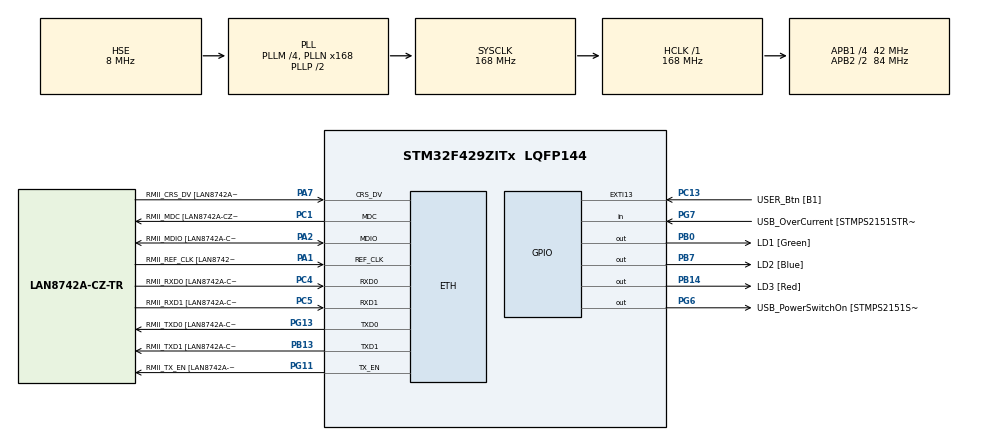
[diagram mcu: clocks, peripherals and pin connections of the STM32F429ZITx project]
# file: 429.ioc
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ETH.MediaInterface=ETH_MEDIA_INTERFACE_RMII
ETH.PHY_Name=LAN8742A_PHY_ADDRESS
ETH.PHY_Value=0
ETH.PhyAddress=0
LWIP.GATEWAY_ADDRESS=192.168.004.001
LWIP.IP_ADDRESS=192.168.004.251
LWIP.LWIP_DHCP=0
LWIP.MEMP_NUM_API_MSG=10
LWIP.MEMP_NUM_DNS_API_MSG=10
LWIP.MEMP_NUM_NETBUF=10
LWIP.MEMP_NUM_NETCONN=10
LWIP.MEMP_NUM_SOCKET_SETGETSOCKOPT_DATA=10
LWIP.MEMP_NUM_SYS_TIMEOUT=10
LWIP.MEMP_NUM_TCPIP_MSG_API=10
LWIP.MEMP_NUM_TCPIP_MSG_INPKT=10
LWIP.MEMP_NUM_TCP_PCB=10
LWIP.MEMP_NUM_TCP_PCB_LISTEN=10
LWIP.MEM_SIZE=4000
LWIP.NETMASK_ADDRESS=255.255.255.000
LWIP.TCP_MSS=720
LWIP.Version=v2.1.2_Cube
Mcu.Family=STM32F4
Mcu.Name=STM32F429ZITx
Mcu.Package=LQFP144
NVIC.PriorityGroup=NVIC_PRIORITYGROUP_4
PA1.GPIO_Label=RMII_REF_CLK [LAN8742A-CZ-TR_REFCLK0]
PA1.Mode=RMII
PA1.Signal=ETH_REF_CLK
PA10.GPIO_Label=USB_ID
PA10.Signal=USB_OTG_FS_ID
PA11.GPIO_Label=USB_DM
PA11.Signal=USB_OTG_FS_DM
PA12.GPIO_Label=USB_DP
PA12.Signal=USB_OTG_FS_DP
PA13.GPIO_Label=TMS
PA13.Mode=Serial_Wire
PA13.Signal=SYS_JTMS-SWDIO
PA14.GPIO_Label=TCK
PA14.Mode=Serial_Wire
PA14.Signal=SYS_JTCK-SWCLK
PA2.GPIO_Label=RMII_MDIO [LAN8742A-CZ-TR_MDIO]
PA2.Mode=RMII
PA2.Signal=ETH_MDIO
PA7.GPIO_Label=RMII_CRS_DV [LAN8742A-CZ-TR_CRS_DV]
PA7.Mode=RMII
PA7.Signal=ETH_CRS_DV
PA8.GPIO_Label=USB_SOF [TP1]
PA8.Signal=USB_OTG_FS_SOF
PA9.GPIO_Label=USB_VBUS
PA9.Signal=USB_OTG_FS_VBUS
PB0.GPIO_Label=LD1 [Green]
PB0.Signal=GPIO_Output
PB13.GPIO_Label=RMII_TXD1 [LAN8742A-CZ-TR_TXD1]
PB13.Mode=RMII
PB13.Signal=ETH_TXD1
PB14.GPIO_Label=LD3 [Red]
PB14.Signal=GPIO_Output
PB7.GPIO_Label=LD2 [Blue]
PB7.Signal=GPIO_Output
PC1.GPIO_Label=RMII_MDC [LAN8742A-CZ-TR_MDC]
PC1.Mode=RMII
PC1.Signal=ETH_MDC
PC13.GPIO_Label=USER_Btn [B1]
PC13.Signal=GPXTI13
PC14/OSC32_IN.Mode=LSE-External-Oscillator
PC14/OSC32_IN.Signal=RCC_OSC32_IN
PC15/OSC32_OUT.Mode=LSE-External-Oscillator
PC15/OSC32_OUT.Signal=RCC_OSC32_OUT
PC4.GPIO_Label=RMII_RXD0 [LAN8742A-CZ-TR_RXD0]
PC4.Mode=RMII
PC4.Signal=ETH_RXD0
PC5.GPIO_Label=RMII_RXD1 [LAN8742A-CZ-TR_RXD1]
PC5.Mode=RMII
PC5.Signal=ETH_RXD1
PD8.GPIO_Label=STLK_RX [STM32F103CBT6_PA3]
PD8.Signal=USART3_TX
PD9.GPIO_Label=STLK_TX [STM32F103CBT6_PA2]
PD9.Signal=USART3_RX
PG11.GPIO_Label=RMII_TX_EN [LAN8742A-CZ-TR_TXEN]
PG11.Mode=RMII
PG11.Signal=ETH_TX_EN
PG13.GPIO_Label=RMII_TXD0 [LAN8742A-CZ-TR_TXD0]
PG13.Mode=RMII
PG13.Signal=ETH_TXD0
PG6.GPIO_Label=USB_PowerSwitchOn [STMPS2151STR_EN]
PG6.Signal=GPIO_Output
PG7.GPIO_Label=USB_OverCurrent [STMPS2151STR_FAULT]
PG7.Signal=GPIO_Input
PH0/OSC_IN.GPIO_Label=MCO [STM32F103CBT6_PA8]
PH0/OSC_IN.Mode=HSE-External-Clock-Source
PH0/OSC_IN.Signal=RCC_OSC_IN
PH1/OSC_OUT.Mode=HSE-External-Clock-Source
PH1/OSC_OUT.Signal=RCC_OSC_OUT
ProjectManager.HeapSize=0x2000
ProjectManager.StackSize=0x2000
ProjectManager.TargetToolchain=MDK-ARM V5.27
RCC.48MHZClocksFreq_Value=48000000
RCC.AHBFreq_Value=168000000
RCC.APB1CLKDivider=RCC_HCLK_DIV4
RCC.APB1Freq_Value=42000000
RCC.APB1TimFreq_Value=84000000
RCC.APB2CLKDivider=RCC_HCLK_DIV2
RCC.APB2Freq_Value=84000000
RCC.APB2TimCLKDivider=2
RCC.APB2TimFreq_Value=168000000
RCC.CortexFreq_Value=168000000
RCC.HCLKFreq_Value=168000000
RCC.HSE_VALUE=8000000
RCC.HSI_VALUE=16000000
RCC.PLLM=4
RCC.PLLMUL=RCC_PLL_MUL9
RCC.PLLN=168
RCC.PLLQ=7
RCC.PLLSourceVirtual=RCC_PLLSOURCE_HSE
RCC.PRESCALERUSB=RCC_USBCLKSOURCE_PLL_DIV1_5
RCC.SYSCLKFreq_VALUE=168000000
RCC.SYSCLKSource=RCC_SYSCLKSOURCE_PLLCLK
RCC.SYSCLKSourceVirtual=RCC_SYSCLKSOURCE_PLLCLK
RCC.USBFreq_Value=48000000
RCC.VCOOutputFreq_Value=336000000
VP_LWIP_VS_Enabled.Mode=Enabled
board=NUCLEO-F429ZI

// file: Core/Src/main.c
/* USER CODE BEGIN Header */
/**
  ******************************************************************************
  * @file           : main.c
  * @brief          : Main program body
  ******************************************************************************
  * @attention
  *
  * <h2><center>&copy; Copyright (c) 2022 STMicroelectronics.
  * All rights reserved.</center></h2>
  *
  * This software component is licensed by ST under Ultimate Liberty license
  * SLA0044, the "License"; You may not use this file except in compliance with
  * the License. You may obtain a copy of the License at:
  *                             www.st.com/SLA0044
  *
  ******************************************************************************
  */
/* USER CODE END Header */
#include "main.h"
#include "lwip.h"

/* USER CODE BEGIN Includes */
#include "TimeSpan.h"
#include "Memory.h"
#include "CoreDebug.h"
#include "HTTPServer.h"
/* USER CODE END Includes */

/* USER CODE BEGIN PV */

//---DEBUG---//
#include <stdio.h>
#define ITM_Port8(n)    (*((volatile unsigned char *)(0xE0000000+4*n)))
#define ITM_Port16(n)   (*((volatile unsigned short*)(0xE0000000+4*n)))
#define ITM_Port32(n)   (*((volatile unsigned long *)(0xE0000000+4*n)))
#define DEMCR           (*((volatile unsigned long *)(0xE000EDFC)))
#define TRCENA          0x01000000

struct __FILE { int handle; /* Add whatever you need here */ };
FILE __stdout;
FILE __stdin;

int fputc(int ch, FILE *f) {
   if (DEMCR & TRCENA) {

while (ITM_Port32(0) == 0)
	;
    ITM_Port8(0) = ch;
  }
  return(ch);
}
//---End Debug---//

Memory* memory = (void*)FIRST_PAGE_PROPERTY_ADDR;

uint16_t mainAppCRC=0;
uint16_t memCrc =0;

HTTPServer httpServer;
/* USER CODE END PV */

void SystemClock_Config(void);
static void MX_GPIO_Init(void);

/* USER CODE BEGIN 0 */
void runMainApp()
{
	__disable_irq();//запрещаем прерывания

  uint32_t appJumpAddress;

  typedef void(*pFunction)(void);//user type
  pFunction jumpToApplication;   //user type variable

  appJumpAddress = *( uint32_t*) (MAIN_APP_START_ADDR+ 4);//Reset address vector
  jumpToApplication = (pFunction)appJumpAddress;           //Reset address vector user type
  __set_MSP(*(__IO uint32_t*) MAIN_APP_START_ADDR);       //set SP application

	HAL_DeInit();

  jumpToApplication();  //jump to user application
}

void Delay_ms(uint16_t time_ms)
{
  uint32_t time_takt = time_ms * 168000; // Переводим мс в такты процессора
  time_takt /=5; // Уменьшаем значение в 5 раз (т.к. 1 цикл "for" выполняется 5 тактов процессора)
  for(uint32_t i = 0; i < time_takt; i++) // ждем....
  {
    __ASM volatile ("nop");
  }
}
/* USER CODE END 0 */

int main(void)
{

  /* MCU Configuration--------------------------------------------------------*/

  /* Reset of all peripherals, Initializes the Flash interface and the Systick. */
  HAL_Init();

  /* USER CODE BEGIN Init */
  Delay_ms(300);
  /* USER CODE END Init */

  /* Configure the system clock */
  SystemClock_Config();

  /* USER CODE BEGIN SysInit */

	#ifdef __OLD_CODE
  /* USER CODE END SysInit */

  /* Initialize all configured peripherals */
  MX_GPIO_Init();
  MX_LWIP_Init();
  /* USER CODE BEGIN 2 */
	#endif
	Memory_Init();

	MX_GPIO_Init();

	//mainAppCRC = calculateMainAppCRC();

	if(memory->magicFlag!=RUN_BOOTLOADER_MAGIC_FLAG)
	{
    //mainAppCRC = calculateMainAppCRC();
		mainAppCRC = MODBUS_CRC16((uint8_t*)MAIN_APP_START_ADDR, MAIN_APP_SIZE-2);
		memCrc = *(uint16_t*)(MAIN_APP_START_ADDR + MAIN_APP_SIZE - 2);
		if(memory->magicFlag==RUN_MAIN_APP_WITH_DELAY_MAGIC_FLAG)
		{
			//Крутимся 3 секунды в общем цикле
		}
		else if(memory->magicFlag==RUN_MAIN_APP_DEFAULT_MAGIC_FLAG && (/*mainAppCRC==0*/mainAppCRC==memCrc||IsDebuggerConnected()))runMainApp();
		else if(memory->magicFlag==RUN_MAIN_APP_MAGIC_FLAG && (/*mainAppCRC==0*/mainAppCRC==memCrc||IsDebuggerConnected()))runMainApp();
	}
	else memoryWriteMagicFlag(RUN_MAIN_APP_DEFAULT_MAGIC_FLAG);

  MX_LWIP_Init();
	HTTPServer_Init(&httpServer);

	uint32_t startAppTime = HAL_GetTick();

	printf("Bootloader started.\r\n");

  /* USER CODE END 2 */

  /* Infinite loop */
  /* USER CODE BEGIN WHILE */
  while (1)
  {
		static uint32_t lastBlinkTime =0;
		if(GetTimeSpan(lastBlinkTime,HAL_GetTick())>500)
		{
			lastBlinkTime=HAL_GetTick();
		  //HAL_GPIO_TogglePin(LD1_GPIO_Port,LD1_Pin);//GREEN
		  HAL_GPIO_TogglePin(LD2_GPIO_Port,LD2_Pin);//BLUE
		  //HAL_GPIO_TogglePin(LD3_GPIO_Port,LD3_Pin);//RED
		}

		MX_LWIP_Process();

		if(memory->magicFlag==RUN_MAIN_APP_WITH_DELAY_MAGIC_FLAG &&(/*mainAppCRC==0*/mainAppCRC==memCrc||IsDebuggerConnected())&& GetTimeSpan(startAppTime,HAL_GetTick())>5000)
		{
			memoryWriteMagicFlag(RUN_MAIN_APP_DEFAULT_MAGIC_FLAG);
			runMainApp();
		}

		static uint32_t buttonResetIPReleaseTime = 0;

		if(HAL_GPIO_ReadPin(USER_Btn_GPIO_Port,USER_Btn_Pin)==GPIO_PIN_RESET)buttonResetIPReleaseTime = HAL_GetTick();
		else if(GetTimeSpan(buttonResetIPReleaseTime,HAL_GetTick())>5000)
		{
			HAL_GPIO_WritePin(LD1_GPIO_Port,LD1_Pin,GPIO_PIN_RESET);//GREEN
		  HAL_GPIO_WritePin(LD2_GPIO_Port,LD2_Pin,GPIO_PIN_RESET);//BLUE
		  HAL_GPIO_WritePin(LD3_GPIO_Port,LD3_Pin,GPIO_PIN_RESET);//RED
			HAL_Delay(500);
			HAL_GPIO_WritePin(LD1_GPIO_Port,LD1_Pin,GPIO_PIN_SET);//GREEN
			HAL_Delay(500);
			HAL_GPIO_WritePin(LD2_GPIO_Port,LD2_Pin,GPIO_PIN_SET);//BLUE
			HAL_Delay(500);
			HAL_GPIO_WritePin(LD3_GPIO_Port,LD3_Pin,GPIO_PIN_SET);//RED
			HAL_Delay(500);
			HAL_GPIO_WritePin(LD1_GPIO_Port,LD1_Pin,GPIO_PIN_RESET);//GREEN
		  HAL_GPIO_WritePin(LD2_GPIO_Port,LD2_Pin,GPIO_PIN_RESET);//BLUE
		  HAL_GPIO_WritePin(LD3_GPIO_Port,LD3_Pin,GPIO_PIN_RESET);//RED

			NetworkParameters networkParameters ={
			  .ipAddr={192,168,4,251},
			  .netMask={255,255,255,0},
	      .gateWay={192,168,4,001},
			  .modbusPort=502,
		  };
			memoryWriteNetworkParameters(&networkParameters);

			HAL_Delay(500);

			buttonResetIPReleaseTime = HAL_GetTick();
	  }
    /* USER CODE END WHILE */

  }
}

void SystemClock_Config(void)
{
  RCC_OscInitTypeDef RCC_OscInitStruct = {0};
  RCC_ClkInitTypeDef RCC_ClkInitStruct = {0};

  /** Configure the main internal regulator output voltage
  */
  __HAL_RCC_PWR_CLK_ENABLE();
  __HAL_PWR_VOLTAGESCALING_CONFIG(PWR_REGULATOR_VOLTAGE_SCALE1);
  /** Initializes the RCC Oscillators according to the specified parameters
  * in the RCC_OscInitTypeDef structure.
  */
  RCC_OscInitStruct.OscillatorType = RCC_OSCILLATORTYPE_HSE;
  RCC_OscInitStruct.HSEState = RCC_HSE_BYPASS;
  RCC_OscInitStruct.PLL.PLLState = RCC_PLL_ON;
  RCC_OscInitStruct.PLL.PLLSource = RCC_PLLSOURCE_HSE;
  RCC_OscInitStruct.PLL.PLLM = 4;
  RCC_OscInitStruct.PLL.PLLN = 168;
  RCC_OscInitStruct.PLL.PLLP = RCC_PLLP_DIV2;
  RCC_OscInitStruct.PLL.PLLQ = 7;
  if (HAL_RCC_OscConfig(&RCC_OscInitStruct) != HAL_OK)
  {
    Error_Handler();
  }
  /** Initializes the CPU, AHB and APB buses clocks
  */
  RCC_ClkInitStruct.ClockType = RCC_CLOCKTYPE_HCLK|RCC_CLOCKTYPE_SYSCLK
                              |RCC_CLOCKTYPE_PCLK1|RCC_CLOCKTYPE_PCLK2;
  RCC_ClkInitStruct.SYSCLKSource = RCC_SYSCLKSOURCE_PLLCLK;
  RCC_ClkInitStruct.AHBCLKDivider = RCC_SYSCLK_DIV1;
  RCC_ClkInitStruct.APB1CLKDivider = RCC_HCLK_DIV4;
  RCC_ClkInitStruct.APB2CLKDivider = RCC_HCLK_DIV2;

  if (HAL_RCC_ClockConfig(&RCC_ClkInitStruct, FLASH_LATENCY_5) != HAL_OK)
  {
    Error_Handler();
  }
}

static void MX_GPIO_Init(void)
{
  GPIO_InitTypeDef GPIO_InitStruct = {0};

  /* GPIO Ports Clock Enable */
  __HAL_RCC_GPIOC_CLK_ENABLE();
  __HAL_RCC_GPIOH_CLK_ENABLE();
  __HAL_RCC_GPIOA_CLK_ENABLE();
  __HAL_RCC_GPIOB_CLK_ENABLE();
  __HAL_RCC_GPIOD_CLK_ENABLE();
  __HAL_RCC_GPIOG_CLK_ENABLE();

  /*Configure GPIO pin Output Level */
  HAL_GPIO_WritePin(GPIOB, LD1_Pin|LD3_Pin|LD2_Pin, GPIO_PIN_RESET);

  /*Configure GPIO pin Output Level */
  HAL_GPIO_WritePin(USB_PowerSwitchOn_GPIO_Port, USB_PowerSwitchOn_Pin, GPIO_PIN_RESET);

  /*Configure GPIO pin : USER_Btn_Pin */
  GPIO_InitStruct.Pin = USER_Btn_Pin;
  GPIO_InitStruct.Mode = GPIO_MODE_IT_RISING;
  GPIO_InitStruct.Pull = GPIO_NOPULL;
  HAL_GPIO_Init(USER_Btn_GPIO_Port, &GPIO_InitStruct);

  /*Configure GPIO pins : LD1_Pin LD3_Pin LD2_Pin */
  GPIO_InitStruct.Pin = LD1_Pin|LD3_Pin|LD2_Pin;
  GPIO_InitStruct.Mode = GPIO_MODE_OUTPUT_PP;
  GPIO_InitStruct.Pull = GPIO_NOPULL;
  GPIO_InitStruct.Speed = GPIO_SPEED_FREQ_LOW;
  HAL_GPIO_Init(GPIOB, &GPIO_InitStruct);

  /*Configure GPIO pins : STLK_RX_Pin STLK_TX_Pin */
  GPIO_InitStruct.Pin = STLK_RX_Pin|STLK_TX_Pin;
  GPIO_InitStruct.Mode = GPIO_MODE_AF_PP;
  GPIO_InitStruct.Pull = GPIO_NOPULL;
  GPIO_InitStruct.Speed = GPIO_SPEED_FREQ_VERY_HIGH;
  GPIO_InitStruct.Alternate = GPIO_AF7_USART3;
  HAL_GPIO_Init(GPIOD, &GPIO_InitStruct);

  /*Configure GPIO pin : USB_PowerSwitchOn_Pin */
  GPIO_InitStruct.Pin = USB_PowerSwitchOn_Pin;
  GPIO_InitStruct.Mode = GPIO_MODE_OUTPUT_PP;
  GPIO_InitStruct.Pull = GPIO_NOPULL;
  GPIO_InitStruct.Speed = GPIO_SPEED_FREQ_LOW;
  HAL_GPIO_Init(USB_PowerSwitchOn_GPIO_Port, &GPIO_InitStruct);

  /*Configure GPIO pin : USB_OverCurrent_Pin */
  GPIO_InitStruct.Pin = USB_OverCurrent_Pin;
  GPIO_InitStruct.Mode = GPIO_MODE_INPUT;
  GPIO_InitStruct.Pull = GPIO_NOPULL;
  HAL_GPIO_Init(USB_OverCurrent_GPIO_Port, &GPIO_InitStruct);

  /*Configure GPIO pins : USB_SOF_Pin USB_ID_Pin USB_DM_Pin USB_DP_Pin */
  GPIO_InitStruct.Pin = USB_SOF_Pin|USB_ID_Pin|USB_DM_Pin|USB_DP_Pin;
  GPIO_InitStruct.Mode = GPIO_MODE_AF_PP;
  GPIO_InitStruct.Pull = GPIO_NOPULL;
  GPIO_InitStruct.Speed = GPIO_SPEED_FREQ_VERY_HIGH;
  GPIO_InitStruct.Alternate = GPIO_AF10_OTG_FS;
  HAL_GPIO_Init(GPIOA, &GPIO_InitStruct);

  /*Configure GPIO pin : USB_VBUS_Pin */
  GPIO_InitStruct.Pin = USB_VBUS_Pin;
  GPIO_InitStruct.Mode = GPIO_MODE_INPUT;
  GPIO_InitStruct.Pull = GPIO_NOPULL;
  HAL_GPIO_Init(USB_VBUS_GPIO_Port, &GPIO_InitStruct);

}

void Error_Handler(void)
{
  __disable_irq();
  while (1)
  {
  }
}

/************************ (C) COPYRIGHT STMicroelectronics *****END OF FILE****/
